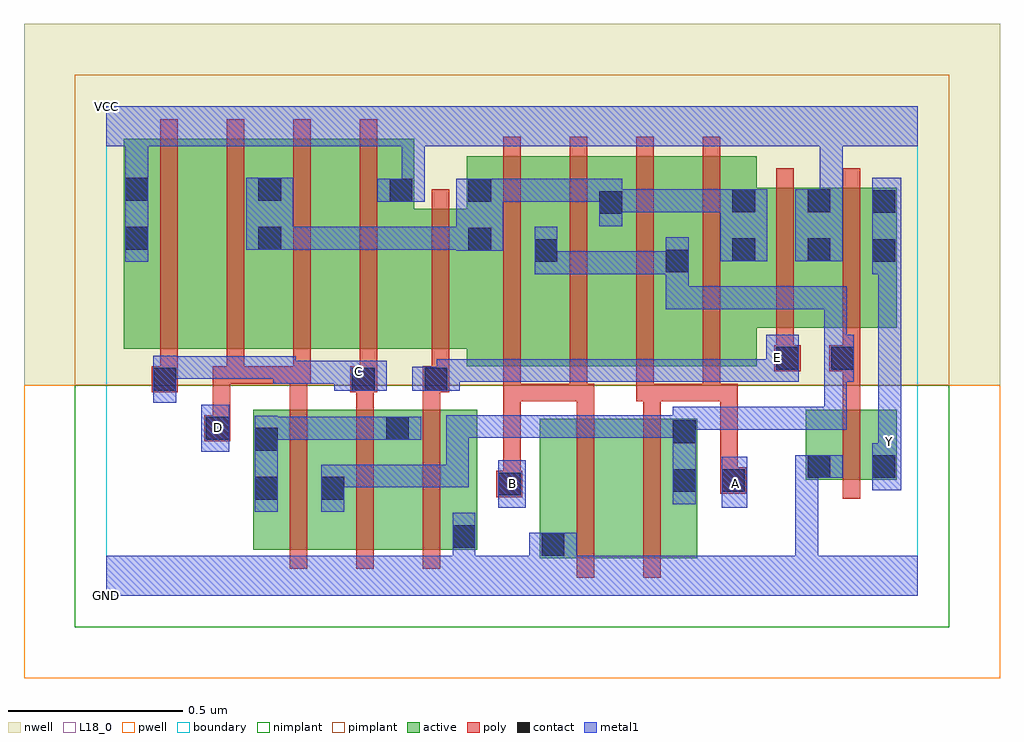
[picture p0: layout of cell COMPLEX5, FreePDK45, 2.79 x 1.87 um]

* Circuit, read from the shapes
.subckt COMPLEX5 A B C D E GND VCC Y
M1 n1 D n2 VSUBS nfet w=0.4u l=0.05u
M2 n2 C n1 VSUBS nfet w=0.4u l=0.05u
M3 GND E n2 VSUBS nfet w=0.4u l=0.05u
M4 n3 B GND VSUBS nfet w=0.4u l=0.05u
M5 n1 A n3 VSUBS nfet w=0.4u l=0.05u
M6 Y n1 GND VSUBS nfet w=0.2u l=0.05u
M7 n4 C VCC n5 pfet w=0.6u l=0.05u
M8 n6 D n4 n5 pfet w=0.6u l=0.05u
M9 n7 D n6 n5 pfet w=0.6u l=0.05u
M10 VCC C n7 n5 pfet w=0.6u l=0.05u
M11 n6 E VCC n5 pfet w=0.4u l=0.05u m=2
M12 n1 B n6 n5 pfet w=0.6u l=0.05u m=2
M13 n1 A n6 n5 pfet w=0.6u l=0.05u m=2
M14 Y n1 VCC n5 pfet w=0.4u l=0.05u
.ends

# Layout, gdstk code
import gdstk
lib = gdstk.Library(unit=1e-6, precision=1e-09)
def R(c, l, rs):  # rectangles x0, y0, x1, y1
    for r in rs: c.add(gdstk.rectangle(r[:2], r[2:], *l))
def A(c, l, x, y, w, h, nx, ny, dx, dy):  # array of equal rectangles
    R(c, l, [(x+i*dx, y+j*dy, x+i*dx+w, y+j*dy+h) for i in range(nx) for j in range(ny)])
active = (1, 0)
pwell = (2, 0)
nwell = (3, 0)
nimplant = (4, 0)
pimplant = (5, 0)
poly = (9, 0)
contact = (10, 0)
metal1 = (11, 0)
L18_0 = (18, 0)
boundary = (235, 0)

complex5 = lib.new_cell('COMPLEX5')
R(complex5, active, [(1.24,0.107,1.465,0.507), (1.24,0.107,1.315,0.507), (1.465,0.107,1.69,0.507), (0.42,0.132,0.685,0.532), (0.61,0.132,0.87,0.532), (0.795,0.132,1.06,0.532), (0.985,0.132,1.06,0.532), (0.42,0.147,0.495,0.532), (0.61,0.147,0.685,0.492), (0.795,0.147,0.87,0.517), (1.615,0.147,1.69,0.507), (2,0.332,2.075,0.532), (2,0.332,2.26,0.532), (2.185,0.332,2.26,0.532), (1.03,0.657,1.295,1.257), (1.22,0.657,1.48,1.257), (1.405,0.657,1.67,1.257), (1.595,0.657,1.86,1.257), (0.05,0.707,0.275,1.307), (0.05,0.707,0.125,1.257), (0.275,0.707,0.505,1.307), (0.43,0.707,0.505,1.2), (0.43,0.707,0.655,1.307), (0.655,0.707,0.88,1.307), (0.805,0.707,1.105,1.107), (1.22,0.707,1.295,1.07), (1.405,0.707,1.48,1.2), (1.595,0.707,1.67,1.07), (1.785,0.767,2.075,1.167), (2,0.767,2.26,1.167), (2.185,0.767,2.26,1.165), (0.805,0.907,0.88,1.307), (1.03,0.907,1.105,1.2), (1.785,0.907,1.86,1.2), (2,0.907,2.075,1.167)])
R(complex5, pwell, [(-0.235,-0.235,2.555,0.602)])
R(complex5, nwell, [(-0.235,0.602,2.555,1.635)])
R(complex5, nimplant, [(-0.09,-0.09,2.41,0.602)])
R(complex5, pimplant, [(-0.09,0.602,2.41,1.49)])
A(complex5, poly, 0.525, 0.077, 0.05, 0.51, 3, 1, 0.19, 0)
A(complex5, poly, 1.135, 0.557, 0.05, 0.095, 4, 1, 0.19, 0)
A(complex5, poly, 1.135, 0.602, 0.05, 0.71, 4, 1, 0.19, 0)
A(complex5, poly, 0.155, 0.607, 0.05, 0.095, 4, 1, 0.19, 0)
A(complex5, poly, 0.155, 0.652, 0.05, 0.71, 4, 1, 0.19, 0)
R(complex5, poly, [(1.345,0.052,1.395,0.562), (1.535,0.052,1.585,0.562), (2.105,0.277,2.155,0.587), (1.115,0.282,1.19,0.357), (1.755,0.292,1.83,0.367), (1.135,0.307,1.185,0.607), (1.755,0.317,1.805,0.607), (1.755,0.317,1.805,0.367), (1.755,0.317,1.805,0.367), (0.28,0.442,0.355,0.517), (0.305,0.467,0.355,0.657), (1.345,0.512,1.395,0.607), (1.535,0.512,1.585,0.607), (0.525,0.537,0.575,0.657), (0.715,0.537,0.765,0.632), (0.905,0.537,0.955,0.632), (2.105,0.537,2.155,0.692), (1.135,0.557,1.185,0.607), (1.135,0.557,1.185,0.607), (1.135,0.557,1.185,0.607), (1.135,0.557,1.185,0.607), (1.135,0.557,1.185,0.607), (1.135,0.557,1.375,0.607), (1.325,0.557,1.395,0.607), (1.515,0.557,1.585,0.607), (1.535,0.557,1.755,0.607), (1.705,0.557,1.755,0.607), (1.705,0.557,1.755,0.607), (1.705,0.557,1.805,0.607), (0.13,0.582,0.205,0.657), (0.697,0.582,0.775,0.657), (0.905,0.582,0.98,0.657), (0.305,0.607,0.37,0.657), (0.32,0.607,0.37,0.657), (0.32,0.607,0.395,0.657), (0.345,0.607,0.575,0.657), (0.525,0.607,0.575,0.657), (0.525,0.607,0.575,0.657), (0.525,0.607,0.585,0.657), (0.93,0.607,0.98,0.702), (1.91,0.642,1.985,0.717), (2.067,0.642,2.155,0.717), (0.93,0.652,0.98,1.162), (1.915,0.667,1.965,0.762), (2.105,0.667,2.155,0.762), (1.915,0.712,1.965,1.222), (2.105,0.712,2.155,1.222)])
R(complex5, contact, [(1.245,0.115,1.31,0.18), (0.99,0.137,1.055,0.202), (0.425,0.275,0.49,0.34), (0.615,0.275,0.68,0.34), (1.12,0.287,1.185,0.352), (1.62,0.297,1.685,0.362), (1.76,0.297,1.825,0.362), (2.005,0.337,2.07,0.402), (2.19,0.337,2.255,0.402), (0.425,0.415,0.49,0.48), (1.62,0.437,1.685,0.502), (0.285,0.447,0.35,0.512), (0.8,0.447,0.865,0.512), (0.135,0.587,0.2,0.652), (0.702,0.587,0.767,0.652), (0.91,0.587,0.975,0.652), (1.915,0.647,1.98,0.712), (2.072,0.647,2.137,0.712), (1.6,0.925,1.665,0.99), (1.225,0.955,1.29,1.02), (2.19,0.955,2.255,1.02), (1.79,0.957,1.855,1.022), (2.005,0.957,2.07,1.022), (1.035,0.987,1.1,1.052), (0.055,0.99,0.12,1.055), (0.435,0.99,0.5,1.055), (1.41,1.092,1.475,1.157), (2.19,1.095,2.255,1.16), (1.79,1.097,1.855,1.162), (2.005,1.097,2.07,1.162), (0.81,1.127,0.875,1.192), (1.035,1.127,1.1,1.192), (0.055,1.13,0.12,1.195), (0.435,1.13,0.5,1.195)])
R(complex5, metal1, [(0,0,2.32,0.115), (0.99,0.05,1.055,0.167), (1.28,0.05,1.345,0.18), (1.97,0.05,2.035,0.115), (1.97,0.05,2.035,0.115), (1.97,0.05,2.035,0.115), (1.97,0.05,2.035,0.115), (1.97,0.05,2.035,0.402), (0.99,0.102,1.055,0.237), (1.21,0.115,1.345,0.18), (0.425,0.24,0.49,0.515), (0.615,0.24,0.68,0.375), (1.12,0.252,1.2,0.387), (1.76,0.252,1.832,0.397), (1.62,0.262,1.685,0.537), (2.19,0.302,2.272,0.437), (0.615,0.31,0.68,0.375), (0.615,0.31,0.68,0.375), (0.615,0.31,0.872,0.375), (0.807,0.31,0.872,0.375), (0.807,0.31,0.872,0.375), (0.807,0.31,0.872,0.375), (0.807,0.31,1.037,0.375), (0.972,0.31,1.037,0.375), (0.972,0.31,1.037,0.517), (1.97,0.337,2.105,0.402), (2.207,0.372,2.272,0.437), (2.207,0.372,2.272,0.507), (0.272,0.412,0.352,0.547), (2.207,0.442,2.272,0.985), (0.425,0.447,0.49,0.512), (0.425,0.447,0.49,0.512), (0.425,0.447,0.692,0.512), (0.627,0.447,0.692,0.512), (0.627,0.447,0.692,0.512), (0.627,0.447,0.692,0.512), (0.627,0.447,0.83,0.512), (0.765,0.447,0.9,0.512), (0.972,0.452,1.037,0.517), (0.972,0.452,1.152,0.517), (1.087,0.452,1.152,0.517), (1.087,0.452,1.307,0.517), (1.242,0.452,1.307,0.517), (1.242,0.452,1.307,0.517), (1.242,0.452,1.307,0.517), (1.242,0.452,1.527,0.517), (1.462,0.452,1.527,0.517), (1.462,0.452,1.527,0.517), (1.462,0.452,1.527,0.517), (1.462,0.452,1.685,0.517), (1.62,0.472,1.685,0.537), (1.62,0.472,1.685,0.54), (1.62,0.475,1.897,0.54), (1.832,0.475,1.897,0.54), (1.832,0.475,1.897,0.54), (1.832,0.475,1.897,0.54), (1.832,0.475,2.117,0.54), (2.052,0.475,2.117,0.54), (2.052,0.475,2.117,0.747), (0.135,0.552,0.2,0.687), (0.652,0.587,0.802,0.672), (0.875,0.587,1.01,0.655), (0.945,0.59,1.01,0.655), (0.945,0.59,1.01,0.677), (0.477,0.607,0.692,0.672), (0.477,0.607,0.542,0.685), (0.627,0.607,0.692,0.672), (0.627,0.607,0.717,0.672), (0.945,0.612,1.152,0.677), (1.087,0.612,1.152,0.677), (1.087,0.612,1.307,0.677), (1.242,0.612,1.307,0.677), (1.242,0.612,1.307,0.677), (1.242,0.612,1.307,0.677), (1.242,0.612,1.445,0.677), (1.38,0.612,1.445,0.677), (1.38,0.612,1.445,0.677), (1.38,0.612,1.445,0.677), (1.38,0.612,1.682,0.677), (1.617,0.612,1.682,0.677), (1.617,0.612,1.682,0.677), (1.617,0.612,1.682,0.677), (1.617,0.612,1.822,0.677), (1.757,0.612,1.822,0.677), (1.757,0.612,1.952,0.677), (1.887,0.612,1.98,0.747), (2.072,0.612,2.137,0.747), (0.135,0.62,0.2,0.685), (0.135,0.62,0.2,0.685), (0.135,0.62,0.337,0.685), (0.272,0.62,0.337,0.685), (0.272,0.62,0.337,0.685), (0.272,0.62,0.337,0.685), (0.272,0.62,0.542,0.685), (2.052,0.682,2.117,0.747), (2.052,0.682,2.137,0.747), (2.052,0.682,2.117,0.885), (1.6,0.82,1.665,0.955), (1.6,0.82,1.897,0.885), (1.832,0.82,1.897,0.885), (1.832,0.82,1.897,0.885), (1.832,0.82,1.897,0.885), (1.832,0.82,2.117,0.885), (2.052,0.82,2.117,0.885), (1.6,0.89,1.665,0.955), (1.6,0.89,1.665,1.025), (1.225,0.92,1.29,0.985), (1.225,0.92,1.29,0.985), (1.225,0.92,1.29,1.055), (1.225,0.92,1.445,0.985), (1.38,0.92,1.445,0.985), (1.38,0.92,1.445,0.985), (1.38,0.92,1.445,0.985), (1.38,0.92,1.665,0.985), (2.19,0.92,2.272,1.195), (0.055,0.955,0.12,1.23), (1.755,0.957,1.89,1.162), (1.97,0.957,2.105,1.162), (1,0.987,1.135,1.192), (0.4,0.99,0.535,1.195), (0.47,0.99,0.535,1.055), (0.47,0.99,0.535,1.055), (0.47,0.99,0.692,1.055), (0.627,0.99,0.692,1.055), (0.627,0.99,0.692,1.055), (0.627,0.99,0.692,1.055), (0.627,0.99,0.83,1.055), (0.765,0.99,0.83,1.055), (0.765,0.99,0.83,1.055), (0.765,0.99,0.83,1.055), (0.765,0.99,1.065,1.055), (1.41,1.057,1.475,1.192), (1.41,1.097,1.475,1.162), (1.41,1.097,1.475,1.162), (1.41,1.097,1.665,1.162), (1.6,1.097,1.665,1.162), (1.6,1.097,1.665,1.162), (1.6,1.097,1.665,1.162), (1.6,1.097,1.82,1.162), (2.04,1.097,2.105,1.162), (2.04,1.097,2.105,1.162), (2.04,1.097,2.105,1.35), (0.775,1.127,0.91,1.192), (0.845,1.127,0.91,1.35), (1.07,1.127,1.135,1.192), (1.07,1.127,1.135,1.192), (1.07,1.127,1.147,1.192), (1.082,1.127,1.147,1.192), (1.082,1.127,1.29,1.192), (1.225,1.127,1.29,1.192), (1.225,1.127,1.29,1.192), (1.225,1.127,1.29,1.192), (1.225,1.127,1.475,1.192), (0.055,1.165,0.12,1.35), (0,1.285,2.32,1.4)])
R(complex5, L18_0, [(0,0,2.32,0.115), (0.99,0.05,1.055,0.167), (1.28,0.05,1.345,0.18), (1.97,0.05,2.035,0.115), (1.97,0.05,2.035,0.115), (1.97,0.05,2.035,0.115), (1.97,0.05,2.035,0.115), (1.97,0.05,2.035,0.402), (0.99,0.102,1.055,0.237), (1.21,0.115,1.345,0.18), (1.12,0.252,1.2,0.387), (1.76,0.252,1.832,0.397), (1.127,0.287,1.192,0.352), (1.767,0.287,1.832,0.352), (2.19,0.302,2.272,0.437), (1.97,0.337,2.105,0.402), (2.207,0.372,2.272,0.507), (2.207,0.372,2.272,0.437), (2.207,0.407,2.272,0.472), (0.272,0.412,0.352,0.547), (2.207,0.442,2.272,0.985), (0.287,0.447,0.352,0.512), (0.135,0.552,0.2,0.687), (0.652,0.587,0.802,0.672), (0.875,0.587,1.01,0.655), (0.945,0.59,1.01,0.655), (0.945,0.59,1.01,0.677), (0.477,0.607,0.542,0.685), (0.477,0.607,0.692,0.672), (0.627,0.607,0.692,0.672), (0.627,0.607,0.717,0.672), (0.687,0.607,0.752,0.672), (0.945,0.612,1.152,0.677), (1.087,0.612,1.152,0.677), (1.087,0.612,1.307,0.677), (1.242,0.612,1.307,0.677), (1.242,0.612,1.307,0.677), (1.242,0.612,1.307,0.677), (1.242,0.612,1.445,0.677), (1.38,0.612,1.445,0.677), (1.38,0.612,1.445,0.677), (1.38,0.612,1.445,0.677), (1.38,0.612,1.682,0.677), (1.617,0.612,1.682,0.677), (1.617,0.612,1.682,0.677), (1.617,0.612,1.682,0.677), (1.617,0.612,1.822,0.677), (1.757,0.612,1.822,0.677), (1.757,0.612,1.952,0.677), (1.887,0.612,1.98,0.747), (0.135,0.62,0.2,0.685), (0.135,0.62,0.2,0.685), (0.135,0.62,0.337,0.685), (0.272,0.62,0.337,0.685), (0.272,0.62,0.337,0.685), (0.272,0.62,0.337,0.685), (0.272,0.62,0.542,0.685), (1.887,0.647,1.952,0.712), (2.19,0.92,2.272,1.195), (0.055,0.955,0.12,1.23), (1.97,0.957,2.105,1.162), (2.04,1.097,2.105,1.162), (2.04,1.097,2.105,1.162), (2.04,1.097,2.105,1.35), (0.775,1.127,0.91,1.192), (0.845,1.127,0.91,1.35), (0.055,1.165,0.12,1.35), (0,1.285,2.32,1.4)])
R(complex5, boundary, [(0,0,2.32,1.4)])
complex5.add(gdstk.Label('A', (1.8,0.32), layer=11, texttype=0))
complex5.add(gdstk.Label('B', (1.16,0.32), layer=11, texttype=0))
complex5.add(gdstk.Label('C', (0.72,0.64), layer=11, texttype=0))
complex5.add(gdstk.Label('D', (0.32,0.48), layer=11, texttype=0))
complex5.add(gdstk.Label('E', (1.92,0.68), layer=11, texttype=0))
complex5.add(gdstk.Label('Y', (2.24,0.44), layer=11, texttype=0))
complex5.add(gdstk.Label('VCC', (0,1.4), layer=11, texttype=0))
complex5.add(gdstk.Label('GND', (0,0), layer=11, texttype=0))

lib.write_gds('COMPLEX5.gds')
